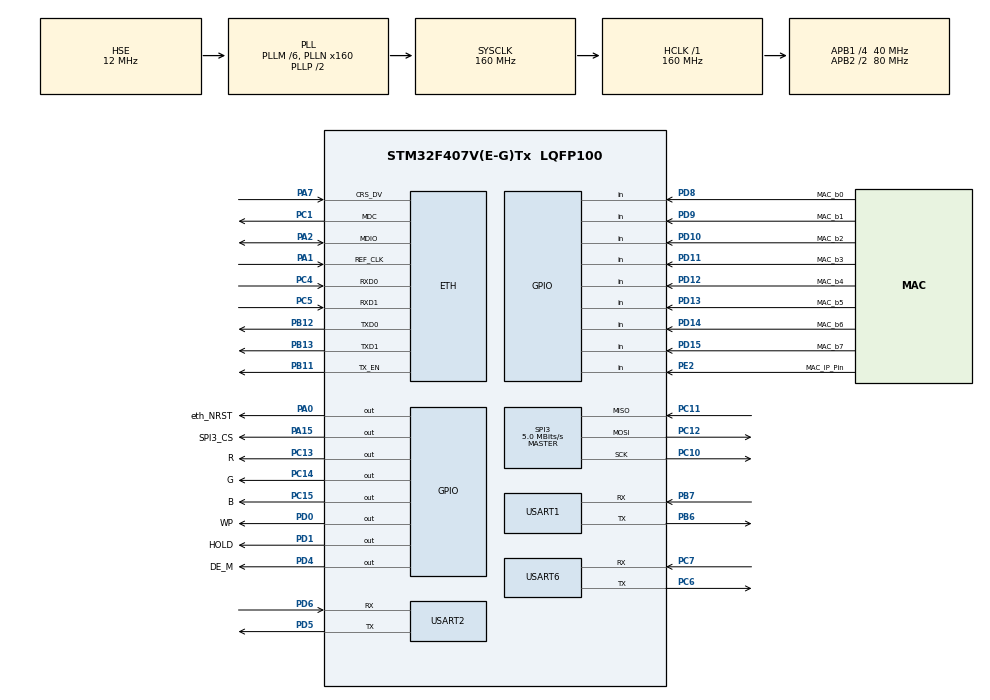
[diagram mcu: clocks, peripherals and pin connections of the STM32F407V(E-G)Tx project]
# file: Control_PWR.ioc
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Dma.Request0=USART1_RX
Dma.Request1=USART6_RX
Dma.Request2=USART6_TX
Dma.USART1_RX.0.Direction=DMA_PERIPH_TO_MEMORY
Dma.USART1_RX.0.FIFOMode=DMA_FIFOMODE_DISABLE
Dma.USART1_RX.0.Instance=DMA2_Stream2
Dma.USART1_RX.0.MemDataAlignment=DMA_MDATAALIGN_BYTE
Dma.USART1_RX.0.MemInc=DMA_MINC_ENABLE
Dma.USART1_RX.0.Mode=DMA_CIRCULAR
Dma.USART1_RX.0.PeriphDataAlignment=DMA_PDATAALIGN_BYTE
Dma.USART1_RX.0.PeriphInc=DMA_PINC_DISABLE
Dma.USART1_RX.0.Priority=DMA_PRIORITY_LOW
Dma.USART6_RX.1.Direction=DMA_PERIPH_TO_MEMORY
Dma.USART6_RX.1.FIFOMode=DMA_FIFOMODE_DISABLE
Dma.USART6_RX.1.Instance=DMA2_Stream1
Dma.USART6_RX.1.MemDataAlignment=DMA_MDATAALIGN_BYTE
Dma.USART6_RX.1.MemInc=DMA_MINC_ENABLE
Dma.USART6_RX.1.Mode=DMA_CIRCULAR
Dma.USART6_RX.1.PeriphDataAlignment=DMA_PDATAALIGN_BYTE
Dma.USART6_RX.1.PeriphInc=DMA_PINC_DISABLE
Dma.USART6_RX.1.Priority=DMA_PRIORITY_LOW
Dma.USART6_TX.2.Direction=DMA_MEMORY_TO_PERIPH
Dma.USART6_TX.2.FIFOMode=DMA_FIFOMODE_DISABLE
Dma.USART6_TX.2.Instance=DMA2_Stream6
Dma.USART6_TX.2.MemDataAlignment=DMA_MDATAALIGN_BYTE
Dma.USART6_TX.2.MemInc=DMA_MINC_ENABLE
Dma.USART6_TX.2.Mode=DMA_NORMAL
Dma.USART6_TX.2.PeriphDataAlignment=DMA_PDATAALIGN_BYTE
Dma.USART6_TX.2.PeriphInc=DMA_PINC_DISABLE
Dma.USART6_TX.2.Priority=DMA_PRIORITY_LOW
ETH.MACAddr=44\:84\:23\:84\:44\:76
ETH.MediaInterface=HAL_ETH_RMII_MODE
FREERTOS.BinarySemaphores01=ADC_end,Dynamic,NULL,;ADC_end2,Dynamic,NULL,;Resive_USART,Dynamic,NULL,;mulicom_uart,Dynamic,NULL,Available
FREERTOS.Queues01=rxDataUART2,16,uint8_t,0,Dynamic,NULL,NULL;rxDataUART1,16,uint16_t,0,Dynamic,NULL,NULL
FREERTOS.Tasks01=MainTask,0,256,mainTask,Default,NULL,Dynamic,NULL,NULL;LED,0,128,led,Default,NULL,Dynamic,NULL,NULL;ethTas,0,768,eth_Task,Default,NULL,Dynamic,NULL,NULL;MBRTUTask,0,256,mbrtuTask,Default,NULL,Dynamic,NULL,NULL;MBETHTask,0,512,mbethTask,Default,NULL,Dynamic,NULL,NULL;uart_task,0,1024,uart_Task,Default,NULL,Dynamic,NULL,NULL;loggerTask,0,128,LoggerTask,Default,NULL,Dynamic,NULL,NULL
FREERTOS.configTOTAL_HEAP_SIZE=0x8000
FREERTOS.configUSE_NEWLIB_REENTRANT=1
LWIP.BSP.number=1
LWIP.LWIP_DHCP=0
LWIP.LWIP_DNS=1
LWIP.LWIP_NETIF_EXT_STATUS_CALLBACK=1
LWIP.LWIP_NETIF_STATUS_CALLBACK=1
LWIP.Version=v2.1.2_Cube
LWIP0.BSP.STBoard=false
LWIP0.BSP.api=BSP_COMPONENT_DRIVER
LWIP0.BSP.component=LAN8742
LWIP0.BSP.instance=LAN8742
LWIP0.BSP.name=Driver_PHY
LWIP0.BSP.semaphore=S_LAN8742
LWIP0.BSP.solution=LAN8742
Mcu.Family=STM32F4
Mcu.Name=STM32F407V(E-G)Tx
Mcu.Package=LQFP100
NVIC.DMA2_Stream1_IRQn=true\:5\:0\:false\:false\:true\:true\:false\:true\:true
NVIC.DMA2_Stream2_IRQn=true\:5\:0\:false\:false\:true\:true\:false\:true\:true
NVIC.DMA2_Stream6_IRQn=true\:5\:0\:false\:false\:true\:true\:false\:true\:true
NVIC.ETH_IRQn=true\:5\:0\:false\:false\:true\:true\:false\:true\:true
NVIC.PriorityGroup=NVIC_PRIORITYGROUP_4
NVIC.TIM7_IRQn=true\:15\:0\:false\:false\:true\:false\:false\:true\:true
NVIC.TimeBase=TIM7_IRQn
NVIC.TimeBaseIP=TIM7
NVIC.USART1_IRQn=true\:5\:0\:false\:false\:true\:true\:true\:true\:true
NVIC.USART2_IRQn=true\:5\:0\:false\:false\:true\:true\:true\:true\:true
NVIC.USART6_IRQn=true\:5\:0\:false\:false\:true\:true\:true\:true\:true
PA0-WKUP.GPIO_Label=eth_NRST
PA0-WKUP.Signal=GPIO_Output
PA1.Mode=RMII
PA1.Signal=ETH_REF_CLK
PA13.Mode=Serial_Wire
PA13.Signal=SYS_JTMS-SWDIO
PA14.Mode=Serial_Wire
PA14.Signal=SYS_JTCK-SWCLK
PA15.GPIO_Label=SPI3_CS
PA15.Signal=GPIO_Output
PA2.Mode=RMII
PA2.Signal=ETH_MDIO
PA3.Signal=ADCx_IN3
PA4.Signal=ADCx_IN4
PA7.Mode=RMII
PA7.Signal=ETH_CRS_DV
PB11.Mode=RMII
PB11.Signal=ETH_TX_EN
PB12.Mode=RMII
PB12.Signal=ETH_TXD0
PB13.Mode=RMII
PB13.Signal=ETH_TXD1
PB6.Mode=Asynchronous
PB6.Signal=USART1_TX
PB7.Mode=Asynchronous
PB7.Signal=USART1_RX
PC1.Mode=RMII
PC1.Signal=ETH_MDC
PC10.Mode=Full_Duplex_Master
PC10.Signal=SPI3_SCK
PC11.Mode=Full_Duplex_Master
PC11.Signal=SPI3_MISO
PC12.Mode=Full_Duplex_Master
PC12.Signal=SPI3_MOSI
PC13-ANTI_TAMP.GPIO_Label=R
PC13-ANTI_TAMP.Signal=GPIO_Output
PC14-OSC32_IN.GPIO_Label=G
PC14-OSC32_IN.Signal=GPIO_Output
PC15-OSC32_OUT.GPIO_Label=B
PC15-OSC32_OUT.Signal=GPIO_Output
PC4.Mode=RMII
PC4.Signal=ETH_RXD0
PC5.Mode=RMII
PC5.Signal=ETH_RXD1
PC6.Mode=Asynchronous
PC6.Signal=USART6_TX
PC7.Mode=Asynchronous
PC7.Signal=USART6_RX
PD0.GPIO_Label=WP
PD0.Signal=GPIO_Output
PD1.GPIO_Label=HOLD
PD1.Signal=GPIO_Output
PD10.GPIO_Label=MAC_b2
PD10.GPIO_PuPd=GPIO_PULLDOWN
PD10.Signal=GPIO_Input
PD11.GPIO_Label=MAC_b3
PD11.GPIO_PuPd=GPIO_PULLDOWN
PD11.Signal=GPIO_Input
PD12.GPIO_Label=MAC_b4
PD12.GPIO_PuPd=GPIO_PULLDOWN
PD12.Signal=GPIO_Input
PD13.GPIO_Label=MAC_b5
PD13.GPIO_PuPd=GPIO_PULLDOWN
PD13.Signal=GPIO_Input
PD14.GPIO_Label=MAC_b6
PD14.GPIO_PuPd=GPIO_PULLDOWN
PD14.Signal=GPIO_Input
PD15.GPIO_Label=MAC_b7
PD15.GPIO_PuPd=GPIO_PULLDOWN
PD15.Signal=GPIO_Input
PD4.GPIO_Label=DE_M
PD4.Signal=GPIO_Output
PD5.Mode=Asynchronous
PD5.Signal=USART2_TX
PD6.Mode=Asynchronous
PD6.Signal=USART2_RX
PD8.GPIO_Label=MAC_b0
PD8.GPIO_PuPd=GPIO_PULLDOWN
PD8.Signal=GPIO_Input
PD9.GPIO_Label=MAC_b1
PD9.GPIO_PuPd=GPIO_PULLDOWN
PD9.Signal=GPIO_Input
PE2.GPIO_Label=MAC_IP_Pin
PE2.GPIO_PuPd=GPIO_PULLDOWN
PE2.Signal=GPIO_Input
PH0-OSC_IN.Mode=HSE-External-Oscillator
PH0-OSC_IN.Signal=RCC_OSC_IN
PH1-OSC_OUT.Mode=HSE-External-Oscillator
PH1-OSC_OUT.Signal=RCC_OSC_OUT
ProjectManager.HeapSize=0x6000
ProjectManager.StackSize=0x4000
ProjectManager.TargetToolchain=STM32CubeIDE
RCC.48MHZClocksFreq_Value=80000000
RCC.AHBFreq_Value=160000000
RCC.APB1CLKDivider=RCC_HCLK_DIV4
RCC.APB1Freq_Value=40000000
RCC.APB1TimFreq_Value=80000000
RCC.APB2CLKDivider=RCC_HCLK_DIV2
RCC.APB2Freq_Value=80000000
RCC.APB2TimFreq_Value=160000000
RCC.CortexFreq_Value=160000000
RCC.EnbaleCSS=true
RCC.HCLKFreq_Value=160000000
RCC.HSE_VALUE=12000000
RCC.HSI_VALUE=16000000
RCC.LSE_VALUE=32768
RCC.PLLM=6
RCC.PLLN=160
RCC.PLLSourceVirtual=RCC_PLLSOURCE_HSE
RCC.RCC_MCO1Source=RCC_MCO1SOURCE_HSE
RCC.RCC_MCODiv1=RCC_MCODIV_4
RCC.SYSCLKFreq_VALUE=160000000
RCC.SYSCLKSource=RCC_SYSCLKSOURCE_PLLCLK
RCC.VCOOutputFreq_Value=320000000
SH.ADCx_IN3.0=ADC1_IN3
SH.ADCx_IN4.0=ADC2_IN4
SPI3.BaudRatePrescaler=SPI_BAUDRATEPRESCALER_8
SPI3.CalculateBaudRate=5.0 MBits/s
SPI3.Direction=SPI_DIRECTION_2LINES
SPI3.Mode=SPI_MODE_MASTER
SPI3.VirtualType=VM_MASTER
USART1.VirtualMode=VM_ASYNC
USART1.WordLength=WORDLENGTH_8B
USART2.VirtualMode=VM_ASYNC
USART6.VirtualMode=VM_ASYNC
VP_FREERTOS_VS_CMSIS_V1.Mode=CMSIS_V1
VP_LWIP_VS_Enabled.Mode=Enabled
VP_SYS_VS_tim7.Mode=TIM7
board=custom

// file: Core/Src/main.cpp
/* USER CODE BEGIN Header */
/**
 ******************************************************************************
 * @file           : main.c
 * @brief          : Main program body
 ******************************************************************************
 * @attention
 *
 * Copyright (c) 2022 STMicroelectronics.
 * All rights reserved.
 *
 * This software is licensed under terms that can be found in the LICENSE file
 * in the root directory of this software component.
 * If no LICENSE file comes with this software, it is provided AS-IS.
 *
 ******************************************************************************
 */
/* USER CODE END Header */
#include "main.h"
#include "cmsis_os.h"
#include "dma.h"
#include "lwip.h"
#include "spi.h"
#include "usart.h"
#include "gpio.h"

/* USER CODE BEGIN Includes */
// #include "flash_spi.h"
#include "Delay_us_DWT.h"
#include "LED.h"
#include "flash_spi.h"
#include "cmsis_os.h"
#include "firmware_update.h"
/* USER CODE END Includes */

/* USER CODE BEGIN PTD */
// Размещение метаданных по фиксированному адресу с помощью атрибута section
__attribute__((section(".metadata")))
const meta_t firmware_metadata = {
    .key_start = METADATA_KEY,
    .version = FIRMWARE_VERSION,
    .name_proj = FIRMWARE_NAME,
    .reserved = 0};
/* USER CODE END PTD */

/* USER CODE BEGIN PV */
uint8_t ucHeap[configTOTAL_HEAP_SIZE] __attribute__((section(".ccmram"))) = {0};

chName_t NameCH[MAX_CH_NAME];
DEV_t devices[MAX_ADR_DEV];

uint32_t count_tic = 0; // для замеров времени выполнения кода

led_t LED_IPadr;
led_t LED_error;
led_t LED_OSstart;

flash mem_spi;
// for i2c
// g_stat_t I2C_net[45];

bool resetSettings = false;
timing_info_t mb_timing;

// for SPI Flash
pins_spi_t ChipSelect = {SPI3_CS_GPIO_Port, SPI3_CS_Pin};
pins_spi_t WriteProtect = {WP_GPIO_Port, WP_Pin};
pins_spi_t Hold = {HOLD_GPIO_Port, HOLD_Pin};

settings_t settings = {0, 0x0E};

// Глобальный экземпляр логгера
UartLogger_t logger;

// Локальный буфер для DMA передачи
char txBuffer[MAX_MESSAGE_SIZE];
// Пул сообщений и буфер для него
LogMessage_t messagePool[QUEUE_SIZE];
uint8_t messagePoolUsed[QUEUE_SIZE];
osMutexId poolMutexHandle;

uint8_t message_rx[message_RX_LENGTH];
uint8_t UART_debug_rx[UART6_RX_LENGTH];
uint16_t indx_message_rx = 0;
uint16_t indx_UART2_rx = 0;
uint16_t Size_message = 0;
uint16_t Start_index = 0;
extern osMessageQId rxDataUART2Handle;

// обмен данными с другими платами
bool rx_end = 1;

// TCP for ModBUS
extern uint8_t rtu_data[256];
extern uint8_t response[260];
extern uint8_t Modbut_to_TCP[260];
extern uint16_t SizeInModBus;
extern struct netconn connectionForModBUS, newconnectionForModBUS;
extern struct netconn *connMB, *newconnMB; // contains info about connection inc. type, port, buf pointers etc.

extern osSemaphoreId Resive_USARTHandle;
/* USER CODE END PV */

void SystemClock_Config(void);
void MX_FREERTOS_Init(void);
/* USER CODE BEGIN PFP */
uint8_t ReadStraps();
void finishedBlink();
void timoutBlink();

/* USER CODE END PFP */

/* USER CODE BEGIN 0 */
// uint8_t ucHeap[ configTOTAL_HEAP_SIZE] __attribute__((section(".ccmram")));

/* USER CODE END 0 */

int main(void)
{

  /* USER CODE BEGIN 1 */
    /* Настройка вектора прерываний на адрес приложения */
    //SCB->VTOR = FLASH_BASE | 0x10000; /* 0x08010000 */
    extern uint32_t _app_start;
    SCB->VTOR = (uint32_t)&_app_start;
    __enable_irq();
  /* USER CODE END 1 */

  /* MCU Configuration--------------------------------------------------------*/

  /* Reset of all peripherals, Initializes the Flash interface and the Systick. */
  HAL_Init();

  /* Configure the system clock */
  SystemClock_Config();

  /* Initialize all configured peripherals */
  MX_GPIO_Init();
  MX_DMA_Init();
  MX_SPI3_Init();
  MX_USART1_UART_Init();
  MX_USART2_UART_Init();
  MX_USART6_UART_Init();
  /* USER CODE BEGIN 2 */

    mem_spi.Init(&hspi3, SPI_FLASH_CONFIG_ADDRESS, ChipSelect, WriteProtect, Hold, false);
    // HAL_Delay(100);
    mem_spi.Read(&settings);

    HAL_GPIO_WritePin(R_GPIO_Port, R_Pin, GPIO_PIN_SET); // PC15 VD4
    HAL_GPIO_WritePin(B_GPIO_Port, B_Pin, GPIO_PIN_SET); // PC13 VD2
    HAL_GPIO_WritePin(G_GPIO_Port, G_Pin, GPIO_PIN_SET); // PC14 VD3

    uint8_t endMAC = 0, IP = 100;

    HAL_GPIO_WritePin(eth_NRST_GPIO_Port, eth_NRST_Pin, GPIO_PIN_SET);

    // работаем с настройками из флешки
    if ((settings.version == 0) | (settings.version == 0xFF) | resetSettings)
    {
        STM_LOG("Reset settings");

        settings.isON_from_settings = false;
        settings.IP_end_from_settings = 1;

        settings.DHCPset = true;
        settings.devices_depth = 0;

        settings.saveIP.ip[0] = 192;
        settings.saveIP.ip[1] = 168;
        settings.saveIP.ip[2] = 1;
        settings.saveIP.ip[3] = IP;

        settings.saveIP.mask[0] = 255;
        settings.saveIP.mask[1] = 255;
        settings.saveIP.mask[2] = 255;
        settings.saveIP.mask[3] = 0;

        settings.saveIP.gateway[0] = 192;
        settings.saveIP.gateway[1] = 168;
        settings.saveIP.gateway[2] = 1;
        settings.saveIP.gateway[3] = 1;

        settings.MAC[0] = 0x44;
        settings.MAC[1] = 0x84;
        settings.MAC[2] = 0x23;
        settings.MAC[3] = 0x84;
        settings.MAC[4] = 0x44;
        settings.MAC[5] = endMAC;

        settings.bridge_sett.mode_rs485 = mode_bridge_t::RTU;
        settings.bridge_sett.port = 0;

        settings.version = CURENT_VERSION;

        mem_spi.Write(settings);
        mem_spi.Read(&settings);
        finishedBlink();
    }

    settings.bridge_sett.RS485 = &huart2; // RS485 UART

    // reset link
    for (int var = 0; var <= MAX_CH_NAME; ++var)
    {
        NameCH[var].dev = NULL;
        NameCH[var].Channel_number = 0xff;
    }

    mem_spi.SetUsedInOS(true); // switch to use in OS
  /* USER CODE END 2 */

  /* Call init function for freertos objects (in cmsis_os2.c) */
  MX_FREERTOS_Init();

  /* Start scheduler */
  osKernelStart();

  /* We should never get here as control is now taken by the scheduler */

  /* Infinite loop */
    while (1)
    {

    }
}

void SystemClock_Config(void)
{
  RCC_OscInitTypeDef RCC_OscInitStruct = {0};
  RCC_ClkInitTypeDef RCC_ClkInitStruct = {0};

  /** Configure the main internal regulator output voltage
  */
  __HAL_RCC_PWR_CLK_ENABLE();
  __HAL_PWR_VOLTAGESCALING_CONFIG(PWR_REGULATOR_VOLTAGE_SCALE1);

  /** Initializes the RCC Oscillators according to the specified parameters
  * in the RCC_OscInitTypeDef structure.
  */
  RCC_OscInitStruct.OscillatorType = RCC_OSCILLATORTYPE_HSE;
  RCC_OscInitStruct.HSEState = RCC_HSE_ON;
  RCC_OscInitStruct.PLL.PLLState = RCC_PLL_ON;
  RCC_OscInitStruct.PLL.PLLSource = RCC_PLLSOURCE_HSE;
  RCC_OscInitStruct.PLL.PLLM = 6;
  RCC_OscInitStruct.PLL.PLLN = 160;
  RCC_OscInitStruct.PLL.PLLP = RCC_PLLP_DIV2;
  RCC_OscInitStruct.PLL.PLLQ = 4;
  if (HAL_RCC_OscConfig(&RCC_OscInitStruct) != HAL_OK)
  {
    Error_Handler();
  }

  /** Initializes the CPU, AHB and APB buses clocks
  */
  RCC_ClkInitStruct.ClockType = RCC_CLOCKTYPE_HCLK|RCC_CLOCKTYPE_SYSCLK
                              |RCC_CLOCKTYPE_PCLK1|RCC_CLOCKTYPE_PCLK2;
  RCC_ClkInitStruct.SYSCLKSource = RCC_SYSCLKSOURCE_PLLCLK;
  RCC_ClkInitStruct.AHBCLKDivider = RCC_SYSCLK_DIV1;
  RCC_ClkInitStruct.APB1CLKDivider = RCC_HCLK_DIV4;
  RCC_ClkInitStruct.APB2CLKDivider = RCC_HCLK_DIV2;

  if (HAL_RCC_ClockConfig(&RCC_ClkInitStruct, FLASH_LATENCY_5) != HAL_OK)
  {
    Error_Handler();
  }

  /** Enables the Clock Security System
  */
  HAL_RCC_EnableCSS();
}

/* USER CODE BEGIN 4 */

/*
// Инициализация логгера
void Logger_Init(UART_HandleTypeDef* huart) {
    // Сохраняем указатель на UART
    logger.huart = huart;
    logger.isTransmitting = 0;
    logger.txBuffer = txBuffer;
    logger.started = 1;

    // Очищаем пул сообщений
    memset(messagePoolUsed, 0, sizeof(messagePoolUsed));

    // Создаем мьютекс для пула
    osMutexDef(poolMutex);
    poolMutexHandle = osMutexCreate(osMutex(poolMutex));

    // Создаем очередь сообщений (теперь храним только индексы)
    osMessageQDef(logQueue, QUEUE_SIZE, uint32_t);
    logger.messageQueue = osMessageCreate(osMessageQ(logQueue), NULL);
}

// Обработка сообщений и отправка через UART
void Logger_Process(void) {
    if (!logger.isTransmitting) {
        osEvent event = osMessageGet(logger.messageQueue, 0); // Неблокирующее получение

        if (event.status == osEventMessage) {
            uint32_t msgIndex = event.value.v;
            if(msgIndex < QUEUE_SIZE) {
                LogMessage_t* msg = &messagePool[msgIndex];

                // Проверка валидности сообщения
                if(msg->length > 0 && msg->length < MAX_MESSAGE_SIZE) {
                    // Копируем сообщение в буфер отправки
                    memcpy(logger.txBuffer, msg->data, msg->length);

                    // Освобождаем слот в пуле
                    uint32_t primask_bit;
                    primask_bit = __get_PRIMASK();
                    __disable_irq();
                    messagePoolUsed[msgIndex] = 0;
                    if (!primask_bit) {
                        __enable_irq();
                    }

                    // Начинаем передачу
                    logger.isTransmitting = 1;

                    // Проверяем состояние DMA перед отправкой
                    if(huart2.hdmatx->State == HAL_DMA_STATE_READY) {
                        HAL_StatusTypeDef status = HAL_UART_Transmit_DMA(logger.huart, (uint8_t*)logger.txBuffer, msg->length);
                        if(status != HAL_OK) {
                            // Если DMA не готов, используем обычную передачу
                            HAL_UART_Transmit(logger.huart, (uint8_t*)logger.txBuffer, msg->length, 100);
                            logger.isTransmitting = 0;
                        }
                    } else {
                        // DMA занят, используем обычную передачу
                        HAL_UART_Transmit(logger.huart, (uint8_t*)logger.txBuffer, msg->length, 100);
                        logger.isTransmitting = 0;
                    }
                } else {
                    // Некорректный размер сообщения - просто освобождаем слот
                    uint32_t primask_bit;
                    primask_bit = __get_PRIMASK();
                    __disable_irq();
                    messagePoolUsed[msgIndex] = 0;
                    if (!primask_bit) {
                        __enable_irq();
                    }
                }
            }
        }
    }
}

// Callback завершения передачи
void Logger_TxCpltCallback(void) {
    logger.isTransmitting = 0;
}

// Функция логирования (может вызываться из прерывания или потока)
void Logger_Log(const char* format, ...) {
    if(!logger.started) return;
    if (!format) return;

    int slot = -1;

    // Безопасное получение слота с учетом контекста (прерывание или нет)
    if(isInInterrupt()) {
        // В прерывании - атомарно захватываем слот
        // Используем атомарный подход без мьютекса (мьютексы недопустимы в прерываниях)
        for(int i = 0; i < QUEUE_SIZE; i++) {
            if(messagePoolUsed[i] == 0) {
                // Попытка атомарно захватить слот
                uint32_t primask_bit;
                primask_bit = __get_PRIMASK();
                __disable_irq();
                if(messagePoolUsed[i] == 0) {
                    messagePoolUsed[i] = 1;
                    slot = i;
                }
                if (!primask_bit) {
                    __enable_irq();
                }
                if(slot >= 0) break;
            }
        }
    } else {
        // В обычном коде используем мьютекс
        osMutexWait(poolMutexHandle, osWaitForever);
        slot = getFreeMessageSlot();
        osMutexRelease(poolMutexHandle);
    }

    if(slot < 0) return; // Нет свободных слотов

    LogMessage_t* msg = &messagePool[slot];
    va_list args;

    va_start(args, format);
    int length = vsnprintf(msg->data, MAX_MESSAGE_SIZE-3, format, args);
    va_end(args);

    if (length <= 0) {
        // Атомарное освобождение слота
        uint32_t primask_bit;
        primask_bit = __get_PRIMASK();
        __disable_irq();
        messagePoolUsed[slot] = 0;
        if (!primask_bit) {
            __enable_irq();
        }
        return;
    }

    // Добавляем '\r' и нулевой символ для завершения отправки

    msg->data[length] = '\r';
    msg->data[length + 1] = '\x03';
    msg->data[length + 2] = '\x04';
    msg->length = length + 3;

    // Помещаем индекс сообщения в очередь
    osStatus status = osMessagePut(logger.messageQueue, slot, 10);
    if(status != osOK) {
        // Атомарное освобождение слота при ошибке
        uint32_t primask_bit;
        primask_bit = __get_PRIMASK();
        __disable_irq();
        messagePoolUsed[slot] = 0;
        if (!primask_bit) {
            __enable_irq();
        }
    }
}

// Функция логирования (может вызываться из прерывания или потока)
void Logger_Log_xx(const char* format, ...) {
    if(!logger.started) return;
    if (!format) return;

    int slot = -1;

    // Безопасное получение слота с учетом контекста (прерывание или нет)
    if(isInInterrupt()) {
        // В прерывании - атомарно захватываем слот
        // Используем атомарный подход без мьютекса (мьютексы недопустимы в прерываниях)
        for(int i = 0; i < QUEUE_SIZE; i++) {
            if(messagePoolUsed[i] == 0) {
                // Попытка атомарно захватить слот
                uint32_t primask_bit;
                primask_bit = __get_PRIMASK();
                __disable_irq();
                if(messagePoolUsed[i] == 0) {
                    messagePoolUsed[i] = 1;
                    slot = i;
                }
                if (!primask_bit) {
                    __enable_irq();
                }
                if(slot >= 0) break;
            }
        }
    } else {
        // В обычном коде используем мьютекс
        osMutexWait(poolMutexHandle, osWaitForever);
        slot = getFreeMessageSlot();
        osMutexRelease(poolMutexHandle);
    }

    if(slot < 0) return; // Нет свободных слотов

    LogMessage_t* msg = &messagePool[slot];
    va_list args;

    va_start(args, format);
    int length = vsnprintf(msg->data, MAX_MESSAGE_SIZE, format, args);
    va_end(args);

    if (length <= 0) {
        // Атомарное освобождение слота
        uint32_t primask_bit;
        primask_bit = __get_PRIMASK();
        __disable_irq();
        messagePoolUsed[slot] = 0;
        if (!primask_bit) {
            __enable_irq();
        }
        return;
    }

    msg->length = length;
    // Помещаем индекс сообщения в очередь
    osStatus status = osMessagePut(logger.messageQueue, slot, 10);
    if(status != osOK) {
        // Атомарное освобождение слота при ошибке
        uint32_t primask_bit;
        primask_bit = __get_PRIMASK();
        __disable_irq();
        messagePoolUsed[slot] = 0;
        if (!primask_bit) {
            __enable_irq();
        }
    }
}
*/

uint8_t ReadStraps()
{
    uint8_t tempStraps;

    // Bit0
    if (HAL_GPIO_ReadPin(MAC_b0_GPIO_Port, MAC_b0_Pin))
        SET_BIT(tempStraps, 1 << 0);
    else
        CLEAR_BIT(tempStraps, 1 << 0);
    // Bit1
    if (HAL_GPIO_ReadPin(MAC_b1_GPIO_Port, MAC_b1_Pin))
        SET_BIT(tempStraps, 1 << 1);
    else
        CLEAR_BIT(tempStraps, 1 << 1);
    // Bit2
    if (HAL_GPIO_ReadPin(MAC_b2_GPIO_Port, MAC_b2_Pin))
        SET_BIT(tempStraps, 1 << 2);
    else
        CLEAR_BIT(tempStraps, 1 << 2);
    // Bit3
    if (HAL_GPIO_ReadPin(MAC_b3_GPIO_Port, MAC_b3_Pin))
        SET_BIT(tempStraps, 1 << 3);
    else
        CLEAR_BIT(tempStraps, 1 << 3);
    // Bit4
    if (HAL_GPIO_ReadPin(MAC_b4_GPIO_Port, MAC_b4_Pin))
        SET_BIT(tempStraps, 1 << 4);
    else
        CLEAR_BIT(tempStraps, 1 << 4);
    // Bit5
    if (HAL_GPIO_ReadPin(MAC_b5_GPIO_Port, MAC_b5_Pin))
        SET_BIT(tempStraps, 1 << 5);
    else
        CLEAR_BIT(tempStraps, 1 << 5);
    // Bit6
    if (HAL_GPIO_ReadPin(MAC_b6_GPIO_Port, MAC_b6_Pin))
        SET_BIT(tempStraps, 1 << 6);
    else
        CLEAR_BIT(tempStraps, 1 << 6);
    // Bit7
    if (HAL_GPIO_ReadPin(MAC_b7_GPIO_Port, MAC_b7_Pin))
        SET_BIT(tempStraps, 1 << 7);
    else
        CLEAR_BIT(tempStraps, 1 << 7);

    return tempStraps;
}

void finishedBlink()
{
#define timeBetween 300

    // finished blink
    HAL_GPIO_WritePin(B_GPIO_Port, B_Pin, GPIO_PIN_SET); // PC15 VD4
    HAL_GPIO_WritePin(R_GPIO_Port, R_Pin, GPIO_PIN_SET); // PC13 VD2
    HAL_GPIO_WritePin(G_GPIO_Port, G_Pin, GPIO_PIN_SET); // PC14 VD3

    for (int var = 0; var < 5; ++var)
    {
        HAL_GPIO_WritePin(G_GPIO_Port, G_Pin, GPIO_PIN_RESET); // PC14 VD3
        HAL_Delay(timeBetween);
        HAL_GPIO_WritePin(G_GPIO_Port, G_Pin, GPIO_PIN_SET);   // PC14 VD3
        HAL_GPIO_WritePin(R_GPIO_Port, R_Pin, GPIO_PIN_RESET); // PC13 VD2
        HAL_Delay(timeBetween);
        HAL_GPIO_WritePin(R_GPIO_Port, R_Pin, GPIO_PIN_SET);   // PC13 VD2
        HAL_GPIO_WritePin(B_GPIO_Port, B_Pin, GPIO_PIN_RESET); // PC15 VD4
        HAL_Delay(timeBetween);
        HAL_GPIO_WritePin(B_GPIO_Port, B_Pin, GPIO_PIN_SET); // PC15 VD4
    }

    HAL_GPIO_WritePin(B_GPIO_Port, B_Pin, GPIO_PIN_SET); // PC15 VD4
    HAL_GPIO_WritePin(R_GPIO_Port, R_Pin, GPIO_PIN_SET); // PC13 VD2
    HAL_GPIO_WritePin(G_GPIO_Port, G_Pin, GPIO_PIN_SET); // PC14 VD3
}

void timoutBlink()
{
    // timOut plink  all
    HAL_GPIO_WritePin(B_GPIO_Port, B_Pin, GPIO_PIN_RESET); // PC15 VD4
    HAL_GPIO_WritePin(R_GPIO_Port, R_Pin, GPIO_PIN_RESET); // PC13 VD2
    HAL_GPIO_WritePin(G_GPIO_Port, G_Pin, GPIO_PIN_RESET); // PC14 VD3
    for (int var = 0; var < 5; ++var)
    {
        HAL_GPIO_TogglePin(B_GPIO_Port, B_Pin); // PC15 VD4
        HAL_GPIO_TogglePin(R_GPIO_Port, R_Pin); // PC13 VD2
        HAL_GPIO_TogglePin(G_GPIO_Port, G_Pin); // PC14 VD3
        HAL_Delay(800);
    }
}

void HAL_UARTEx_RxEventCallback(UART_HandleTypeDef *huart, uint16_t Size)
{

    if (huart->Instance == settings.bridge_sett.RS485->Instance)
    {
        SizeInModBus = Size;
        HAL_UARTEx_ReceiveToIdle_IT(settings.bridge_sett.RS485, response, 256); // Read data
        osSemaphoreRelease(Resive_USARTHandle);
    }

    if (huart->Instance == DBG_PORT_NAME)
    {
        uint16_t Size_Data = Size - Start_index;

        HAL_UART_RxEventTypeTypeDef rxEventType;
        rxEventType = HAL_UARTEx_GetRxEventType(huart);
        switch (rxEventType)
        {
        case HAL_UART_RXEVENT_IDLE:
            // Копируем данные
            memcpy(&message_rx[indx_message_rx], &UART_debug_rx[Start_index], Size_Data);

            if ((message_rx[indx_message_rx + Size_Data - 1] == '\r') ||
                (message_rx[indx_message_rx + Size_Data - 1] == 0))
            {
                message_rx[indx_message_rx + Size_Data] = 0;

                // Отправляем сообщение в очередь с таймаутом 0
                osStatus status = osMessagePut(rxDataUART2Handle, (uint32_t)indx_message_rx, 0);
                if (status != osOK)
                {
                    // Если очередь заполнена, очищаем ее
                    osEvent evt;
                    do
                    {
                        evt = osMessageGet(rxDataUART2Handle, 0);
                    } while (evt.status == osEventMessage);

                    // Пытаемся отправить снова
                    status = osMessagePut(rxDataUART2Handle, (uint32_t)indx_message_rx, 0);
                }

                Size_message = 0;
                indx_message_rx = 0;
            }
            else
            {
                indx_message_rx += Size_Data;
            }

            Start_index = Size;
            break;

        case HAL_UART_RXEVENT_TC:
            // Копируем в начало буфера
            memcpy(&message_rx[indx_message_rx], &UART_debug_rx[Start_index], Size_Data);
            indx_message_rx += Size_Data;
            Start_index = 0;
            break;

        default:
            STM_LOG("Неизвестный тип события UART: %d", rxEventType);
            break;
        }

        // Перезапускаем DMA для приема
        HAL_UARTEx_ReceiveToIdle_DMA(huart, UART_debug_rx, UART6_RX_LENGTH);
        __HAL_DMA_DISABLE_IT(&hdma_usart6_rx, DMA_IT_HT);
    }

    if (huart->Instance == USART1)
    {
        memcpy(message_rx, UART_rx, Size);
        // Отправляем сообщение в очередь с таймаутом 0
        osStatus status = osMessagePut(rxDataUART1Handle, (uint32_t)Size, 0);
        if (status != osOK)
        {
            // Если очередь заполнена, очищаем ее
            osEvent evt;
            do
            {
                evt = osMessageGet(rxDataUART1Handle, 0);
            } while (evt.status == osEventMessage);

            // Пытаемся отправить снова
            status = osMessagePut(rxDataUART1Handle, (uint32_t)Size, 0);
        }

        HAL_UARTEx_ReceiveToIdle_DMA(huart, UART_rx, UART_RX_LENGTH);
        __HAL_DMA_DISABLE_IT(&hdma_usart1_rx, DMA_IT_HT);
    }
}

void HAL_UART_RxCpltCallback(UART_HandleTypeDef *huart)
{

    if (huart->Instance == USART1)
    {
        HAL_UART_DMAStop(huart);
        rx_end = 1;
    }
    if (huart->Instance == settings.bridge_sett.RS485->Instance)
    {
    }
}

// Обработчик прерывания DMA UART
void HAL_UART_TxCpltCallback(UART_HandleTypeDef *huart)
{
    if (huart == logger.huart)
    {
        Logger_TxCpltCallback();
    }

    if (huart->Instance == USART1)
    {
    }

    if (huart->Instance == settings.bridge_sett.RS485->Instance)
    {
    }
}
/* USER CODE END 4 */

void HAL_TIM_PeriodElapsedCallback(TIM_HandleTypeDef *htim)
{
  if (htim->Instance == TIM7) {
    HAL_IncTick();
  }
}

void Error_Handler(void)
{
  /* USER CODE BEGIN Error_Handler_Debug */
    /* User can add his own implementation to report the HAL error return state */
    STM_LOG("Error handler");
    __disable_irq();
    while (1)
    {
    }
  /* USER CODE END Error_Handler_Debug */
}
